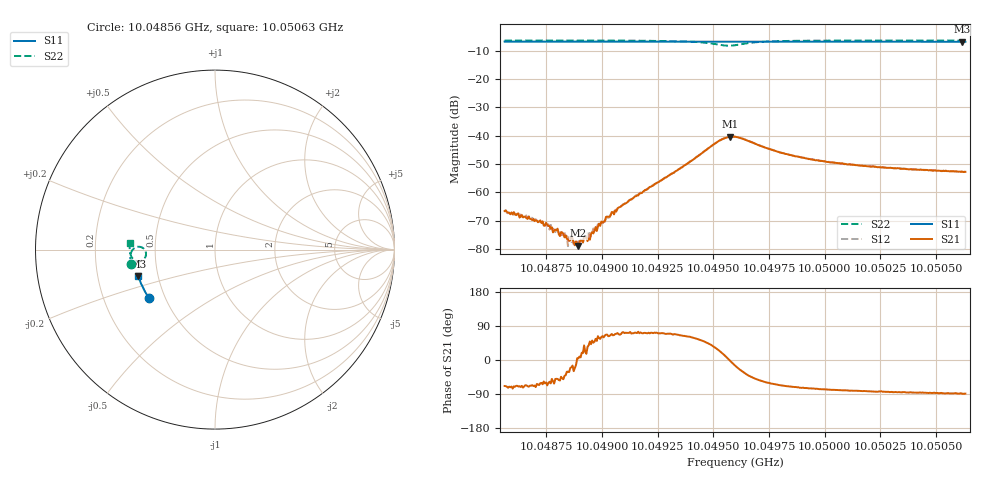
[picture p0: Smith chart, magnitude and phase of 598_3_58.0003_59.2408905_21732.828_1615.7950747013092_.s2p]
#  HZ  S  RI  R  50.00
! Rohde & Schwarz Vector Network Analyzer
! Rohde-Schwarz,ZNB20-2Port,1311601062101988,3.16
! Created: UTC 3/21/2024, 1:17:07 AM
! freq[Hz]  re:S11  im:S11  re:S21  im:S21  re:S12  im:S12  re:S22  im:S22
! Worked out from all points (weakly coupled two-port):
!   401 points, 10.04856 GHz to 10.05063 GHz, reference 50 ohm
!   highest |S21| = -40.41 dB at 10.04958 GHz (marker M1); lowest = -78.9 dB at 10.04889 GHz (marker M2)
!   lowest |S11| = -6.9 dB at 10.05062 GHz (marker M3), VSWR 2.65, Z = 19.3 - j7.22 ohm
!   |S11| at or under -10 dB: nowhere
!   |S22| runs from -8.3 to -6.4 dB; largest |S21 - S12| = 0.0007
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1.0048564e10  -0.3682 -0.2688  0.000169 -0.000432  0.000153 -0.00044  -0.4699 -0.0811
1.0048662e10  -0.3718 -0.2634  0.000136 -0.000319  0.000149 -0.000349  -0.4706 -0.0738
1.0048724e10  -0.3742 -0.2599  0.000153 -0.000279  0.000137 -0.000266  -0.4713 -0.069
1.0048812e10  -0.3772 -0.2551  9.85e-05 -0.000137  0.00012 -0.000136  -0.4718 -0.0621
1.0048832e10  -0.3779 -0.254  0.00012 -0.000106  0.000149 -0.000128  -0.4717 -0.0605
1.0048843e10  -0.3783 -0.2534  0.000129 -7.8e-05  0.000131 -0.000107  -0.4718 -0.0596
1.0048858e10  -0.3789 -0.2525  0.000132 -5.07e-05  0.000133 -7.56e-05  -0.4721 -0.0585
1.0048884e10  -0.3798 -0.251  0.000132 -3.02e-05  0.000144 3.04e-06  -0.4721 -0.0562
1.0048894e10  -0.3802 -0.2504  0.000114 8.04e-06  0.000134 1.74e-05  -0.472 -0.0554
1.004891e10  -0.3806 -0.2496  0.000133 4.67e-05  0.000139 3.87e-05  -0.4723 -0.0542
1.0048941e10  -0.3818 -0.2479  0.000119 9.6e-05  0.000123 7.83e-05  -0.4721 -0.0516
1.0048993e10  -0.3835 -0.245  0.000143 0.00021  0.000136 0.000243  -0.4723 -0.0469
1.0049096e10  -0.3871 -0.2389  0.00017 0.000577  0.000163 0.000596  -0.4718 -0.0371
1.0049256e10  -0.3921 -0.2298  0.000511 0.00143  0.000416 0.00146  -0.4682 -0.0184
1.004952e10  -0.3995 -0.2141  0.00689 0.00363  0.00665 0.00406  -0.4041 0.0105
1.0049577e10  -0.4009 -0.2112  0.00953 -0.000497  0.00954 0.000183  -0.3843 -0.0287
1.0049598e10  -0.4014 -0.2102  0.00921 -0.0024  0.00938 -0.00176  -0.39 -0.0453
1.0049789e10  -0.4075 -0.1993  0.00217 -0.00471  0.00245 -0.00458  -0.4616 -0.0461
1.0049944e10  -0.4118 -0.1899  0.000973 -0.00365  0.00118 -0.00362  -0.4718 -0.0238
1.0050291e10  -0.4203 -0.1687  0.000245 -0.00268  0.000414 -0.00263  -0.4753 0.00928
1.0050616e10  -0.4272 -0.1486  5.54e-05 -0.0023  0.000196 -0.00232  -0.4747 0.0342
1.0050632e10  -0.4276 -0.1475  5.17e-05 -0.00228  0.000201 -0.00231  -0.4744 0.0354
